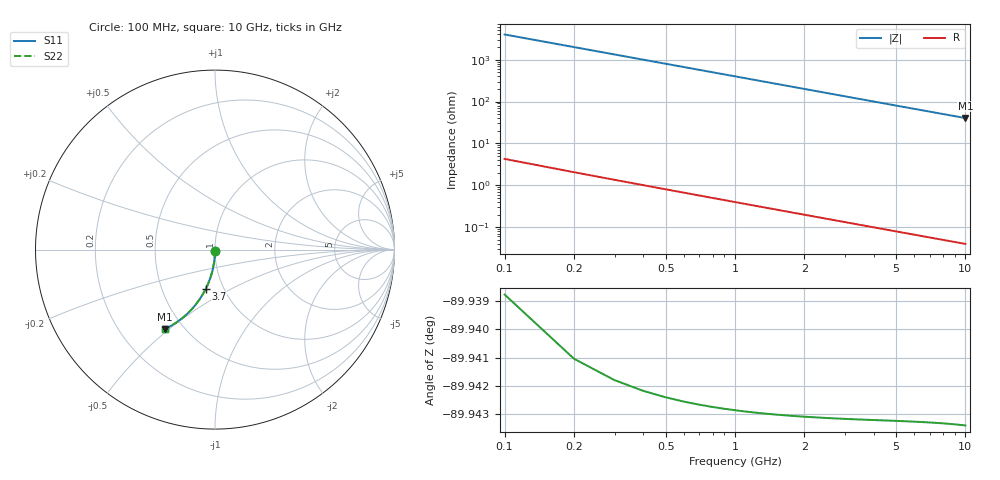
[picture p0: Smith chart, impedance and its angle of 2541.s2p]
# Hz S RI R 50.00
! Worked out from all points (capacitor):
!   100 points, 100 MHz to 10 GHz, reference 50 ohm
!   read as one part in shunt: C = 399 fF near 100 MHz
!   lowest |Z| = 40.3 ohm at 10 GHz (marker M1)
!   S11 on the Smith chart (normalised r, x): 100 MHz: 1.00, -0.01; 3.7 GHz: 0.82, -0.38; 10 GHz: 0.40, -0.48
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1e8  -3.65e-05 -0.00621  0.9999 -0.00632  0.9999 -0.00632  -3.65e-05 -0.00621
2e8  -0.00016 -0.0124  0.9998 -0.0126  0.9998 -0.0126  -0.00016 -0.0124
3e8  -0.000363 -0.0186  0.9996 -0.0189  0.9996 -0.0189  -0.000363 -0.0186
4e8  -0.000643 -0.0248  0.9993 -0.0252  0.9993 -0.0252  -0.000643 -0.0248
5e8  -0.001 -0.031  0.999 -0.0315  0.999 -0.0315  -0.001 -0.031
6e8  -0.00144 -0.0372  0.9985 -0.0378  0.9985 -0.0378  -0.00144 -0.0372
7e8  -0.00195 -0.0434  0.998 -0.0441  0.998 -0.0441  -0.00195 -0.0434
8e8  -0.00254 -0.0496  0.9974 -0.0504  0.9974 -0.0504  -0.00254 -0.0496
9e8  -0.00321 -0.0557  0.9968 -0.0567  0.9968 -0.0567  -0.00321 -0.0557
1.1e9  -0.00478 -0.068  0.9952 -0.0691  0.9952 -0.0691  -0.00478 -0.068
1.4e9  -0.0077 -0.0862  0.9923 -0.0877  0.9923 -0.0877  -0.0077 -0.0862
1.8e9  -0.0126 -0.1103  0.9873 -0.1122  0.9873 -0.1122  -0.0126 -0.1103
2.1e9  -0.0171 -0.1281  0.9829 -0.1303  0.9829 -0.1303  -0.0171 -0.1281
2.5e9  -0.024 -0.1513  0.976 -0.154  0.976 -0.154  -0.024 -0.1513
2.9e9  -0.032 -0.174  0.968 -0.1771  0.968 -0.1771  -0.032 -0.174
3.4e9  -0.0434 -0.2015  0.9566 -0.2051  0.9566 -0.2051  -0.0434 -0.2015
3.7e9  -0.051 -0.2175  0.949 -0.2214  0.949 -0.2214  -0.051 -0.2175
4.4e9  -0.0705 -0.2531  0.9295 -0.2578  0.9295 -0.2578  -0.0705 -0.2531
5.1e9  -0.0923 -0.2862  0.9077 -0.2917  0.9077 -0.2917  -0.0923 -0.2862
6.7e9  -0.1489 -0.3519  0.8511 -0.3591  0.8511 -0.3591  -0.1489 -0.3519
8.4e9  -0.2152 -0.4059  0.7848 -0.415  0.7848 -0.415  -0.2152 -0.4059
1e10  -0.2793 -0.4427  0.7206 -0.4537  0.7206 -0.4537  -0.2793 -0.4427
